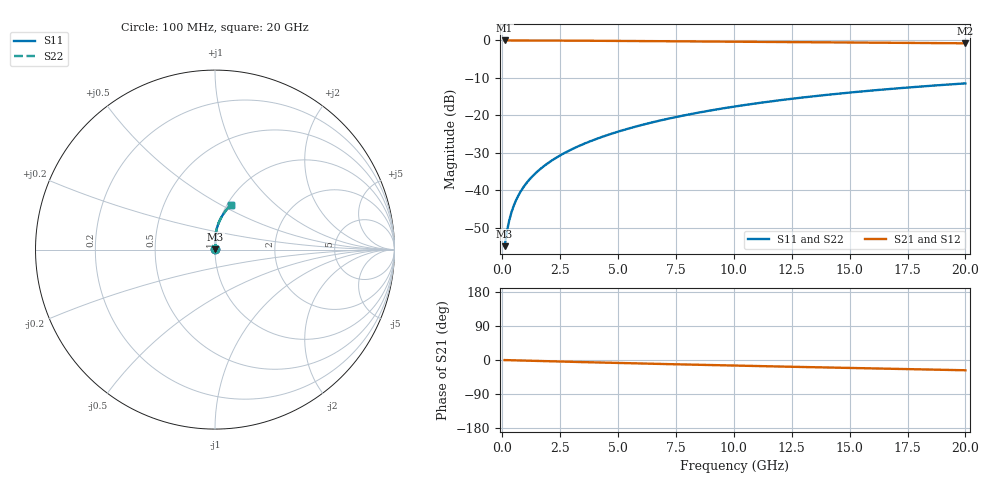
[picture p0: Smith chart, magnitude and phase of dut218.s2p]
! Touchstone file exported from HFSS 2024.1.0
!  File:  C:/UserFiles/LocalFiles/RDL_TSV_Batchsim/temp_RDL_top_218_1778687656.aedt
!  Generated:  11:56:25 PM May 13, 2026
!  Design:  RDL_top
!  Project:  temp_RDL_top_218_1778687656
!  Setup:  Setup1
!  Solution:  Sweep
! Variables:
!  dtsv = 10.80580581um
!  hbump = 3um
!  htsv = 65.77um
!  ldown = 100um
!  lrdl = 365.29um
!  p = 40
!  p1 = 54.5um
!  rhole = 1um
!  t = 450um
!  tdown = 3.915915916um
!  trdl = 4.85um
!  wdown = 15.38538539um
!  wrdl = 24.04um
# GHz S MA R 50.000000
! Terminal data exported
! Port[1] = Box2_T1
! Port[2] = Box2_T2
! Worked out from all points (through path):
!   200 points, 100 MHz to 20 GHz, reference 50 ohm
!   highest |S21| = -0.01 dB at 100 MHz (marker M1); lowest = -0.8 dB at 20 GHz (marker M2)
!   group delay of S21, straight-line fit = 3.71 ps
!   lowest |S11| = -54.9 dB at 100 MHz (marker M3), VSWR 1.00, Z = 50.1 + j0.126 ohm
!   |S11| at or under -10 dB: start of sweep to end of sweep
!   |S22| runs from -54.9 to -11.5 dB; largest |S21 - S12| = 4.5e-15
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0.1  0.001794 44.4  0.9987 -0.2  0.9987 -0.2  0.001794 44.4
! Gamma 0 0 0 0
! Port Impedance 50 0 50 0
0.2  0.002826 62.2  0.9986 -0.3  0.9986 -0.3  0.002826 62.2
0.3  0.00397 69.9  0.9985 -0.5  0.9985 -0.5  0.00397 69.9
0.4  0.005133 73.9  0.9984 -0.7  0.9984 -0.7  0.005133 73.9
0.5  0.006292 76.4  0.9983 -0.8  0.9983 -0.8  0.006292 76.4
0.6  0.007441 78.1  0.9982 -1.0  0.9982 -1.0  0.007441 78.1
0.7  0.00858 79.4  0.9981 -1.1  0.9981 -1.1  0.00858 79.4
0.8  0.009712 80.5  0.9979 -1.3  0.9979 -1.3  0.009712 80.5
1  0.01196 82.1  0.9977 -1.6  0.9977 -1.6  0.01196 82.1
1.4  0.01647 84.3  0.997 -2.3  0.997 -2.3  0.01647 84.3
1.7  0.01988 85.4  0.9964 -2.8  0.9964 -2.8  0.01988 85.4
2  0.02334 86.3  0.9957 -3.2  0.9957 -3.2  0.02334 86.3
2.7  0.03157 87.6  0.9937 -4.3  0.9937 -4.3  0.03157 87.6
3.5  0.04133 88.4  0.991 -5.6  0.991 -5.6  0.04133 88.4
4.2  0.05016 88.7  0.9882 -6.6  0.9882 -6.6  0.05017 88.7
5  0.06059 88.6  0.9848 -7.8  0.9848 -7.8  0.06059 88.6
6.8  0.0851 87.6  0.9766 -10.4  0.9766 -10.4  0.0851 87.6
8.4  0.1077 86.0  0.9692 -12.5  0.9692 -12.5  0.1077 86.0
10.1  0.1321 83.9  0.9613 -14.8  0.9613 -14.8  0.1321 83.9
13.4  0.179 79.3  0.9461 -19.0  0.9461 -19.0  0.1791 79.3
16.7  0.2243 74.6  0.9308 -23.1  0.9308 -23.1  0.2243 74.6
20  0.2671 70.1  0.9152 -27.1  0.9152 -27.1  0.2671 70.1
